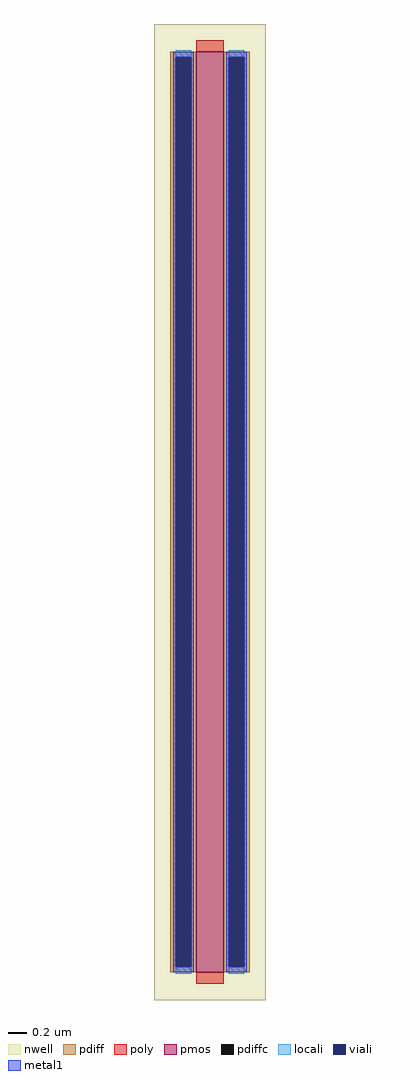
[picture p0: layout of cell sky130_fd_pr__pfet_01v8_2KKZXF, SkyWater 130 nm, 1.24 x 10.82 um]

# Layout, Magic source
magic
tech sky130A
<< nwell >>
rect -62 -541 62 541
<< pmos >>
rect -15 -510 15 510
<< pdiff >>
rect -44 504 -15 510
rect -44 -504 -38 504
rect -21 -504 -15 504
rect -44 -510 -15 -504
rect 15 504 44 510
rect 15 -504 21 504
rect 38 -504 44 504
rect 15 -510 44 -504
<< pdiffc >>
rect -38 -504 -21 504
rect 21 -504 38 504
<< poly >>
rect -15 510 15 523
rect -15 -523 15 -510
<< locali >>
rect -38 504 -21 512
rect -38 -512 -21 -504
rect 21 504 38 512
rect 21 -512 38 -504
<< viali >>
rect -38 -504 -21 504
rect 21 -504 38 504
<< metal1 >>
rect -41 504 -18 510
rect -41 -504 -38 504
rect -21 -504 -18 504
rect -41 -510 -18 -504
rect 18 504 41 510
rect 18 -504 21 504
rect 38 -504 41 504
rect 18 -510 41 -504
<< properties >>
string gencell sky130_fd_pr__pfet_01v8
string library sky130
string parameters w 10.2 l 0.3 m 1 nf 1 diffcov 100 polycov 100 guard 0 glc 0 grc 0 gtc 0 gbc 0 tbcov 100 rlcov 100 topc 0 botc 0 poverlap 0 doverlap 1 lmin 0.15 wmin 0.42 compatible {sky130_fd_pr__pfet_01v8  sky130_fd_pr__pfet_01v8_lvt sky130_fd_pr__pfet_01v8_hvt  sky130_fd_pr__pfet_g5v0d10v5} full_metal 0 viasrc 100 viadrn 100 viagate 100 viagb 0 viagr 0 viagl 0 viagt 0
<< end >>
